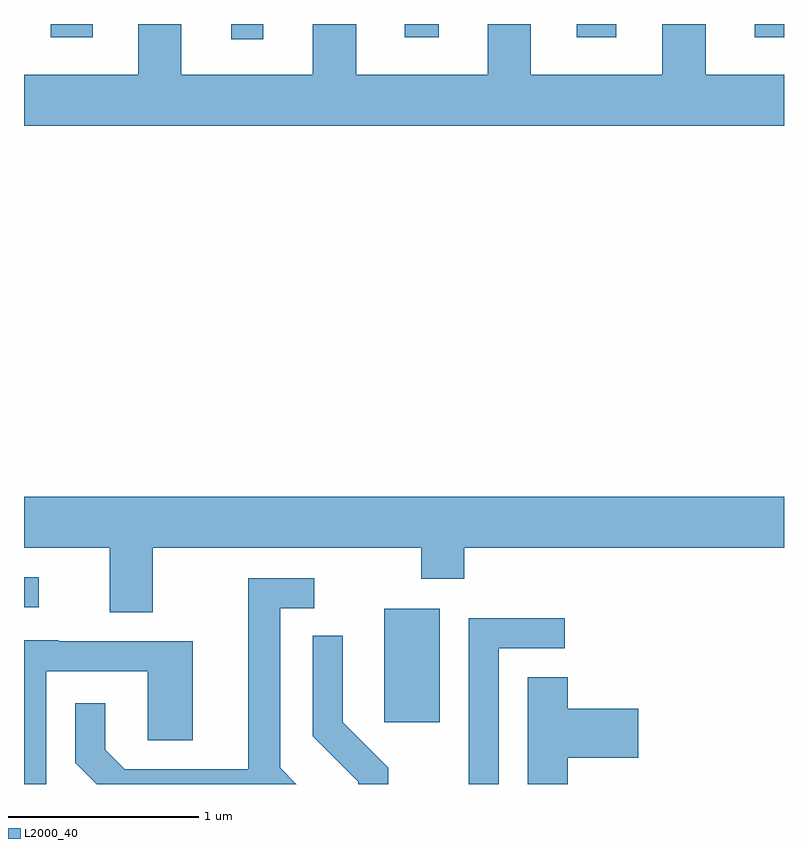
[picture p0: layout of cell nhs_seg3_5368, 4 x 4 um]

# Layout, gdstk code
import gdstk
lib = gdstk.Library(unit=1e-6, precision=1e-09)
def R(c, l, rs):  # rectangles x0, y0, x1, y1
    for r in rs: c.add(gdstk.rectangle(r[:2], r[2:], *l))
def P(c, l, *ps):  # polygons
    for p in ps: c.add(gdstk.Polygon(p, *l))
L2000_40 = (2000, 40)

nhs_seg3_5368 = lib.new_cell('nhs_seg3_5368')
R(nhs_seg3_5368, L2000_40, [(345.506,1116.216,345.799,1116.814), (343.611,1116.821,343.688,1116.979), (344.701,1119.813,344.869,1119.892), (343.751,1119.821,343.974,1119.892), (345.616,1119.821,345.794,1119.892), (346.521,1119.821,346.729,1119.892), (347.456,1119.821,347.611,1119.892)])
P(nhs_seg3_5368, L2000_40, [(347.611,1119.624),(347.199,1119.624),(347.199,1119.892),(346.971,1119.892),(346.971,1119.624),(346.279,1119.624),(346.279,1119.892),(346.051,1119.892),(346.051,1119.624),(345.359,1119.624),(345.359,1119.892),(345.131,1119.892),(345.131,1119.624),(344.439,1119.624),(344.439,1119.892),(344.211,1119.892),(344.211,1119.624),(343.611,1119.624),(343.611,1119.356),(347.611,1119.356)],
  [(344.289,1117.136),(345.701,1117.136),(345.701,1116.971),(345.929,1116.971),(345.929,1117.136),(347.611,1117.136),(347.611,1117.404),(343.611,1117.404),(343.611,1117.136),(344.061,1117.136),(344.061,1116.796),(344.289,1116.796)],
  [(344.959,1115.977),(344.959,1116.816),(345.138,1116.816),(345.138,1116.974),(344.791,1116.974),(344.791,1115.969),(344.142,1115.969),(344.039,1116.072),(344.039,1116.318),(343.881,1116.318),(343.881,1116.004),(343.993,1115.892),(345.044,1115.892)],
  [(346.109,1116.606),(346.458,1116.606),(346.458,1116.764),(345.951,1116.764),(345.951,1115.892),(346.109,1115.892)],
  [(345.529,1115.977),(345.289,1116.217),(345.289,1116.673),(345.131,1116.673),(345.131,1116.144),(345.371,1115.904),(345.371,1115.892),(345.529,1115.892)],
  [(343.729,1116.486),(344.261,1116.486),(344.261,1116.121),(344.499,1116.121),(344.499,1116.644),(343.795,1116.644),(343.795,1116.649),(343.611,1116.649),(343.611,1115.892),(343.729,1115.892)],
  [(346.474,1116.031),(346.844,1116.031),(346.844,1116.289),(346.474,1116.289),(346.474,1116.454),(346.261,1116.454),(346.261,1115.892),(346.474,1115.892)])

lib.write_gds('nhs_seg3_5368.gds')
